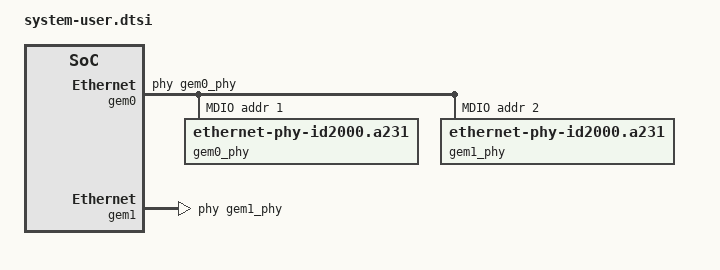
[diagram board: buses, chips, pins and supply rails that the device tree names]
// SPDX-License-Identifier: MIT
// Copyright (C) 2025-2026, Opsero Electronic Design Inc.  All rights reserved.

/*
 * SoC-side / PL device-tree fixups for VCK190, layered on top of the
 * gen-machineconf / lopper-generated <...>-linux.dts (which already carries
 * the PS config and the PL xilinx_qdma PCIe Root Ports from the XSA via
 * pl.dtsi). Scoped to the Linux domain by device-tree.bbappend.
 *
 * PCIe outbound-window fix (qdma_0 / qdma_1 `ranges`):
 *   The SDT/lopper-generated `ranges` set the PCI base address to 0x0 (i.e.
 *   PCI 0x0 -> CPU 0xa8000000), but the Versal QDMA bridge forwards CPU
 *   addresses 1:1 to the PCIe bus. With the mismatched ranges the kernel
 *   assigns endpoint BARs near PCI 0x0 while CPU accesses through the window
 *   land at PCI 0xa8000000 -> nothing responds -> AXI decode error surfaces
 *   as an Asynchronous SError and the kernel panics in nvme_pci_enable.
 *   PetaLinux's HSI-generated DT uses 1:1 ranges (PCI addr == CPU addr); we
 *   override to match. (Confirmed on hardware: with this fix both QDMA Root
 *   Ports enumerate and both NVMe SSDs probe cleanly.)
 *
 *   Format: <pci_addr(3 cells) cpu_addr(2 cells) size(2 cells)>; first entry
 *   is the 32-bit MEM window, second is the 64-bit (prefetchable) window.
 *
 * Register order fix (qdma_0 / qdma_1 `reg`):
 *   pcie-xilinx-dma-pl maps reg[0] = "cfg" (ECAM, S_AXI_LITE) and reg[1] =
 *   "breg" (bridge registers, S_AXI_LITE_CSR). sdtgen orders the reg entries
 *   by its own segment walk; in this design (the doorbell master m_axi_db also
 *   maps BAR0) it emits cfg, BAR0 window, CSR, BAR1 -> the driver programs the
 *   bridge registers through the PCIe BAR window and the kernel panics with an
 *   Asynchronous SError in xilinx_pl_dma_pcie_probe (vck190 bench, 2026-10-17).
 *   Pin the order the recorder's DT has (cfg, breg, BAR0 window, BAR1 window);
 *   addresses = the XSA (CTL0 of S_AXI_LITE / S_AXI_LITE_CSR on M_AXI_LPD).
 */

&qdma_0 {
	reg = <0x0 0x84000000 0x0 0x04000000>, <0x0 0x90000000 0x0 0x08000000>,
	      <0x0 0xa8000000 0x0 0x04000000>, <0x4 0x80000000 0x0 0x40000000>;
	ranges = <0x02000000 0x0 0xa8000000  0x0 0xa8000000  0x0 0x04000000>,
		 <0x43000000 0x4 0x80000000  0x4 0x80000000  0x0 0x40000000>;
};

&qdma_1 {
	reg = <0x0 0x88000000 0x0 0x08000000>, <0x0 0x98000000 0x0 0x08000000>,
	      <0x0 0xac000000 0x0 0x04000000>, <0x4 0xc0000000 0x0 0x40000000>;
	ranges = <0x02000000 0x0 0xac000000  0x0 0xac000000  0x0 0x04000000>,
		 <0x43000000 0x4 0xc0000000  0x4 0xc0000000  0x0 0x40000000>;
};

/* Board RJ45s (GEM0 = u198 PHY, GEM1 = u134 PHY): the SDT flow does not
 * describe the board-level TI DP83867 PHYs, so Linux falls back to the
 * Generic PHY driver and the RGMII clock delays are never programmed -
 * the link negotiates 1G but passes no packets. Both PHYs sit on GEM0's
 * MDIO bus (GEM1 has no MDIO: xlnx,has-mdio=0, matching the board).
 * Values from the official versal-vmk180-revA.dts (which vck190 dts
 * includes); reset-gpios omitted because the SDT device tree does not
 * define the gpio1 label - the PHYs power up out of reset from straps.
 * Fixed MACs (one per board, +1 for GEM1)
 * replace the random ones the SDT flow leaves us with, keeping DHCP
 * leases stable across boots.
 * Ported from the 2x-qsfp28-fmc vck190 Yocto BSP (HW-verified on VCK190).
 */
&gem0 {
	local-mac-address = [00 0a 35 06 21 90];
	phy-handle = <&gem0_phy>;
	mdio {
		#address-cells = <1>;
		#size-cells = <0>;
		gem0_phy: ethernet-phy@1 {
			compatible = "ethernet-phy-id2000.a231";
			reg = <1>;
			ti,rx-internal-delay = <0xb>;
			ti,tx-internal-delay = <0xa>;
			ti,fifo-depth = <0x1>;
			ti,dp83867-rxctrl-strap-quirk;
		};
		gem1_phy: ethernet-phy@2 {
			compatible = "ethernet-phy-id2000.a231";
			reg = <2>;
			ti,rx-internal-delay = <0xb>;
			ti,tx-internal-delay = <0xa>;
			ti,fifo-depth = <0x1>;
			ti,dp83867-rxctrl-strap-quirk;
		};
	};
};
&gem1 {
	local-mac-address = [00 0a 35 06 21 91];
	phy-handle = <&gem1_phy>;
};

/*
 * FPGA Drive NVMe-offload recorder: the nvrec kernel driver (Yocto/meta-nvrec,
 * sw/nvrec-driver) drives nvrec_core AND the NVMe Host Accelerator through ONE
 * node, so the addresses of both IPs are listed here (include/nvrec_regs.h,
 * vck190_fmcp1 address map, Vivado/src/bd/bd_versal.tcl):
 *   core     nvrec_core registers                 0x4_2001_0000, 4 KB
 *   ha-lite  nvmeha S_AXI_LITE (via its guard)    0x4_2002_0000, 64 KB
 *   irq core nvrec_core irq   pl_ps_irq6 -> GIC SPI 90
 *   irq ha   ha_interrupt     pl_ps_irq7 -> GIC SPI 91
 * (pl_ps_irq0-5 are the two QDMA root ports' interrupts.)
 * opsero,ssd-ports lists the PL root ports in SSD order: qdma_0 = SSD1 =
 * nvmeha SSD 0, qdma_1 = SSD2 = nvmeha SSD 1. The QDMA bridges translate
 * nothing (ranges above are 1:1), so the BAR address Linux assigns is the
 * address the Host Accelerator's doorbell master uses: ha-bar-offset 0, and the
 * SSD BAR must land in the 32-bit window (0xa8000000 / 0xac000000) -- the
 * doorbell master has 32-bit addresses. Hardware-only Host Accelerator queues
 * (opsero,ha-sw-queues = <0>), queue window 0x9000_0000 (the SSDs' view,
 * through the bridges' M_AXI_BRIDGE) as on Zynq UltraScale+.
 * If the block design changes the address map or the interrupt bits, change
 * this node with it.
 *
 * Split ring (register map 1.3, driver 1.2): nvrec_core's second ring port
 * reaches the on-board LPDDR4 (NoC DDR_CH2, 0x600_0000_0000, 4 GB behind one
 * DDRMC with both x32 channels interleaved; DDR_LOW1 is
 * not possible: the QDMA bridge NMUs also reach the DDR4's DDR_LOW0, and one
 * NMU may not span DDR_LOW regions of two NoC instances), mapped for
 * the ring port and the QDMA bridges only -- the A72s have no route to it and
 * no memory node covers it. memory-region reserves its first 1 GB for ring B
 * (no-map: the kernel never maps or allocates it); ring A stays in the CMA
 * pool (cma=, PS DDR4). opsero,ring-stripe-chunk makes the board's default
 * stripe the whole chunk (driver module parameter stripe_kb and the apps'
 * --stripe override it): measured on this board (2x 980 PRO RAID0, ring reader
 * with skid FIFOs), whole chunks play back 10750 MB/s sustained (40 GiB) at
 * MaxPayload 128 and 256 alike, against 10250 / 10500 with 4 KB stripes;
 * recording is drive-bound (10000 MB/s) with any stripe. With whole chunks each
 * SSD reads and writes one memory only.
 */
/ {
	reserved-memory {
		#address-cells = <2>;
		#size-cells = <2>;
		ranges;

		nvrec_ring1: nvrec-ring1@60000000000 {
			reg = <0x600 0x00000000 0x0 0x40000000>;
			no-map;
		};
	};
};

&amba_pl {
	nvrec: nvrec@420010000 {
		compatible = "opsero,nvrec";
		reg = <0x4 0x20010000 0x0 0x1000>,
		      <0x4 0x20020000 0x0 0x10000>;
		reg-names = "core", "ha-lite";
		interrupt-parent = <&gic>;
		interrupts = <0 90 4>, <0 91 4>;
		interrupt-names = "core", "ha";
		opsero,ssd-ports = <&qdma_0>, <&qdma_1>;
		opsero,ha-sw-queues = <0>;
		memory-region = <&nvrec_ring1>;
		opsero,ring-stripe-chunk;
	};
};
